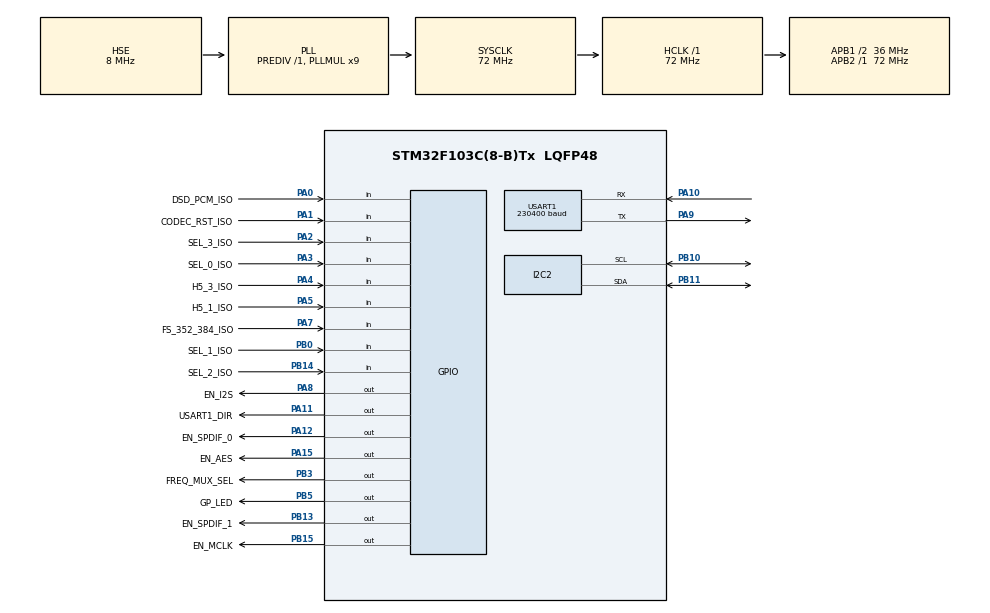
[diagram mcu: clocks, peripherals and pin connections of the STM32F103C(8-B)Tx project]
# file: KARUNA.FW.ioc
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Mcu.Family=STM32F1
Mcu.Name=STM32F103C(8-B)Tx
Mcu.Package=LQFP48
NVIC.PriorityGroup=NVIC_PRIORITYGROUP_4
NVIC.USART1_IRQn=true\:2\:0\:true\:false\:true\:true\:true\:true
PA0-WKUP.GPIO_Label=DSD_PCM_ISO
PA0-WKUP.Signal=GPIO_Input
PA1.GPIO_Label=CODEC_RST_ISO
PA1.Signal=GPIO_Input
PA10.Mode=Asynchronous
PA10.Signal=USART1_RX
PA11.GPIO_Label=USART1_DIR
PA11.Signal=GPIO_Output
PA12.GPIO_Label=EN_SPDIF_0
PA12.Signal=GPIO_Output
PA13.Mode=Serial_Wire
PA13.Signal=SYS_JTMS-SWDIO
PA14.Mode=Serial_Wire
PA14.Signal=SYS_JTCK-SWCLK
PA15.GPIO_Label=EN_AES
PA15.Signal=GPIO_Output
PA2.GPIO_Label=SEL_3_ISO
PA2.Signal=GPIO_Input
PA3.GPIO_Label=SEL_0_ISO
PA3.Signal=GPIO_Input
PA4.GPIO_Label=H5_3_ISO
PA4.Signal=GPIO_Input
PA5.GPIO_Label=H5_1_ISO
PA5.Signal=GPIO_Input
PA7.GPIO_Label=FS_352_384_ISO
PA7.Signal=GPIO_Input
PA8.GPIO_Label=EN_I2S
PA8.Signal=GPIO_Output
PA9.Mode=Asynchronous
PA9.Signal=USART1_TX
PB0.GPIO_Label=SEL_1_ISO
PB0.Signal=GPIO_Input
PB10.Mode=I2C
PB10.Signal=I2C2_SCL
PB11.Mode=I2C
PB11.Signal=I2C2_SDA
PB13.GPIO_Label=EN_SPDIF_1
PB13.Signal=GPIO_Output
PB14.GPIO_Label=SEL_2_ISO
PB14.Signal=GPIO_Input
PB15.GPIO_Label=EN_MCLK
PB15.Signal=GPIO_Output
PB3.GPIO_Label=FREQ_MUX_SEL
PB3.Signal=GPIO_Output
PB5.GPIO_Label=GP_LED
PB5.Signal=GPIO_Output
PD0-OSC_IN.Mode=HSE-External-Oscillator
PD0-OSC_IN.Signal=RCC_OSC_IN
PD1-OSC_OUT.Mode=HSE-External-Oscillator
PD1-OSC_OUT.Signal=RCC_OSC_OUT
ProjectManager.HeapSize=0x200
ProjectManager.StackSize=0x400
ProjectManager.TargetToolchain=STM32CubeIDE
RCC.AHBFreq_Value=72000000
RCC.APB1CLKDivider=RCC_HCLK_DIV2
RCC.APB1Freq_Value=36000000
RCC.APB1TimFreq_Value=72000000
RCC.APB2Freq_Value=72000000
RCC.APB2TimFreq_Value=72000000
RCC.HCLKFreq_Value=72000000
RCC.PLLMUL=RCC_PLL_MUL9
RCC.PLLSourceVirtual=RCC_PLLSOURCE_HSE
RCC.SYSCLKFreq_VALUE=72000000
RCC.SYSCLKSource=RCC_SYSCLKSOURCE_PLLCLK
RCC.USBFreq_Value=72000000
USART1.BaudRate=230400
USART1.VirtualMode=VM_ASYNC
VP_WWDG_VS_WWDG.Mode=WWDG_Activate
WWDG.Counter=127
WWDG.Prescaler=WWDG_PRESCALER_8
WWDG.Window=127
board=custom

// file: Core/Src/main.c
/* USER CODE BEGIN Header */
/**
  ******************************************************************************
  * @file           : main.c
  * @brief          : Main program body
  ******************************************************************************
  * @attention
  *
  * Copyright (c) 2022 STMicroelectronics.
  * All rights reserved.
  *
  * This software is licensed under terms that can be found in the LICENSE file
  * in the root directory of this software component.
  * If no LICENSE file comes with this software, it is provided AS-IS.
  *
  ******************************************************************************
  */
/* USER CODE END Header */
#include "main.h"

/* USER CODE BEGIN Includes */
#include "liveLed.h"
#include "common.h"
#include <string.h>
#include <stdio.h>
#include <stdlib.h>

/* USER CODE END Includes */

/* USER CODE BEGIN PTD */

typedef struct _AppTypeDef
{
  struct _Karuna
  {
    uint32_t DI;
    uint32_t DO;
    uint32_t UpTimeSec;
  }Karuna;

  struct _Diag
  {
    uint8_t  WakeUpFromWdtReset;
    uint32_t RS485ResponseCnt;
    uint32_t RS485RequestCnt;
    uint32_t RS485UnknwonCnt;
    uint32_t RS485NotMyCmdCnt;
    uint32_t UartErrorCnt;
  }Diag;

}DeviceTypeDef;
/* USER CODE END PTD */

/* USER CODE BEGIN PD */

/*** RS485 ***/
#define RS485_BUFFER_SIZE     40
#define RS485_TX_HOLD_MS      1
#define RS485_CMD_LENGTH      35
#define RS485_ARG1_LENGTH     35
#define RS485_ARG2_LENGTH     35

/*** Address ***/
#define CLIENT_TX_ADDR        0x10
#define CLIENT_RX_ADDR        0x01

/*** Karuna ***/
#define KRN_DI_A0             ((uint32_t)1<<0)
#define KRN_DI_A1             ((uint32_t)1<<1)
#define KRN_DI_A2             ((uint32_t)1<<2)
#define KRN_DI_A3             ((uint32_t)1<<3)
#define KRN_DI_DSD_PCM        ((uint32_t)1<<4)
#define KRN_DI_H51            ((uint32_t)1<<5)
#define KRN_DI_H53            ((uint32_t)1<<6)
#define KRN_DI_RCA            ((uint32_t)1<<7)
#define KRN_DI_BNC            ((uint32_t)1<<8)
#define KRN_DI_XLR            ((uint32_t)1<<9)
#define KRN_DI_I2S            ((uint32_t)1<<10)
#define KRN_DI_MCLK_I2S       ((uint32_t)1<<11)
#define KRN_DI_MCLK_OUT       ((uint32_t)1<<12)

#define KRN_DO_RCA_EN         ((uint32_t)1<<0)
#define KRN_DO_BNC_EN         ((uint32_t)1<<1)
#define KRN_DO_XLR_EN         ((uint32_t)1<<2)
#define KRN_DO_I2S_EN         ((uint32_t)1<<3)
#define KRN_DO_MCLK_I2S_EN    ((uint32_t)1<<4)

/* USER CODE END PD */

I2C_HandleTypeDef hi2c2;

UART_HandleTypeDef huart1;

WWDG_HandleTypeDef hwwdg;

/* USER CODE BEGIN PV */
DeviceTypeDef Device;
LiveLED_HnadleTypeDef hLiveLed;

/*** RS485 ***/
char    UartRxBuffer[RS485_BUFFER_SIZE];
char    UartTxBuffer[RS485_BUFFER_SIZE];
char    UartCharacter;
uint8_t UartRxBufferPtr;

/* USER CODE END PV */

void SystemClock_Config(void);
static void MX_GPIO_Init(void);
static void MX_I2C2_Init(void);
static void MX_USART1_UART_Init(void);
static void MX_WWDG_Init(void);
/* USER CODE BEGIN PFP */

/*** LiveLed ***/
void LiveLedOff(void);
void LiveLedOn(void);

/*** UART/RS485 ***/
char* RS485Parser(char *line);
void RS485DirRx(void);
void RS485DirTx(void);
void RS485TxTask(void);

/*** Karuna ***/
uint8_t ReadDI(void);
void WriteDO(uint8_t state);
void KarunaFerq22M5792(void);
void KarunaFreq24M5760(void);
void KarunaClockSelectTask(void);
void KarunaMclkOnI2sDisable(void);
void KarunaMclkOnI2sEnable(void);

/*** Tools ***/
void UpTimeTask(void);

/* USER CODE END PFP */

int main(void)
{

  /* MCU Configuration--------------------------------------------------------*/

  /* Reset of all peripherals, Initializes the Flash interface and the Systick. */
  HAL_Init();

  /* USER CODE BEGIN Init */
  /*** LiveLed ***/
  hLiveLed.LedOffFnPtr = &LiveLedOff;
  hLiveLed.LedOnFnPtr = &LiveLedOn;
  hLiveLed.HalfPeriodTimeMs = 500;
  LiveLedInit(&hLiveLed);
  /*** RS485 ***/
  RS485DirRx();
  /*** Karuna ***/
  Device.Karuna.DO = KRN_DO_RCA_EN | KRN_DO_BNC_EN | KRN_DO_XLR_EN | KRN_DO_I2S_EN;
  /* USER CODE END Init */

  /* Configure the system clock */
  SystemClock_Config();

  /* Initialize all configured peripherals */
  MX_GPIO_Init();
  MX_I2C2_Init();
  MX_USART1_UART_Init();
  MX_WWDG_Init();
  /* USER CODE BEGIN 2 */

  /*** Check if the system has resumed from WWDG reset ***/
  if (__HAL_RCC_GET_FLAG(RCC_FLAG_WWDGRST) != RESET)
  {
    Device.Diag.WakeUpFromWdtReset = 1;
  }

  /* USER CODE END 2 */

  /* Infinite loop */
  /* USER CODE BEGIN WHILE */
  static uint32_t timestamp;

  while (1)
  {
    HAL_WWDG_Refresh(&hwwdg);
    if(HAL_GetTick() - timestamp > 100)
    {
      timestamp = HAL_GetTick();
      Device.Karuna.DI = ReadDI();
      WriteDO(Device.Karuna.DO);
      KarunaClockSelectTask();

      if(Device.Karuna.DO & KRN_DO_RCA_EN)
        Device.Karuna.DI |= KRN_DI_RCA;
      else
        Device.Karuna.DI &= ~KRN_DI_RCA;

      if(Device.Karuna.DO & KRN_DO_BNC_EN)
        Device.Karuna.DI |= KRN_DI_BNC;
      else
        Device.Karuna.DI &= ~KRN_DI_BNC;

      if(Device.Karuna.DO & KRN_DO_XLR_EN)
        Device.Karuna.DI |= KRN_DI_XLR;
      else
        Device.Karuna.DI &= ~KRN_DI_XLR;

      if(Device.Karuna.DO & KRN_DO_I2S_EN)
      {
        Device.Karuna.DI |= KRN_DI_I2S;
        Device.Karuna.DI |= KRN_DI_MCLK_OUT;
      }
      else
      {
        Device.Karuna.DI &= ~KRN_DI_I2S;
        Device.Karuna.DI &= ~KRN_DI_MCLK_OUT;
      }

      if(Device.Karuna.DO & KRN_DO_MCLK_I2S_EN)
      {
        Device.Karuna.DI |= KRN_DI_MCLK_I2S;
      }
      else
      {
        Device.Karuna.DI &= ~KRN_DI_MCLK_I2S;
      }
    }
    LiveLedTask(&hLiveLed);
    RS485TxTask();
    UpTimeTask();
    /* USER CODE END WHILE */

  }
}

void SystemClock_Config(void)
{
  RCC_OscInitTypeDef RCC_OscInitStruct = {0};
  RCC_ClkInitTypeDef RCC_ClkInitStruct = {0};

  /** Initializes the RCC Oscillators according to the specified parameters
  * in the RCC_OscInitTypeDef structure.
  */
  RCC_OscInitStruct.OscillatorType = RCC_OSCILLATORTYPE_HSE;
  RCC_OscInitStruct.HSEState = RCC_HSE_ON;
  RCC_OscInitStruct.HSEPredivValue = RCC_HSE_PREDIV_DIV1;
  RCC_OscInitStruct.HSIState = RCC_HSI_ON;
  RCC_OscInitStruct.PLL.PLLState = RCC_PLL_ON;
  RCC_OscInitStruct.PLL.PLLSource = RCC_PLLSOURCE_HSE;
  RCC_OscInitStruct.PLL.PLLMUL = RCC_PLL_MUL9;
  if (HAL_RCC_OscConfig(&RCC_OscInitStruct) != HAL_OK)
  {
    Error_Handler();
  }

  /** Initializes the CPU, AHB and APB buses clocks
  */
  RCC_ClkInitStruct.ClockType = RCC_CLOCKTYPE_HCLK|RCC_CLOCKTYPE_SYSCLK
                              |RCC_CLOCKTYPE_PCLK1|RCC_CLOCKTYPE_PCLK2;
  RCC_ClkInitStruct.SYSCLKSource = RCC_SYSCLKSOURCE_PLLCLK;
  RCC_ClkInitStruct.AHBCLKDivider = RCC_SYSCLK_DIV1;
  RCC_ClkInitStruct.APB1CLKDivider = RCC_HCLK_DIV2;
  RCC_ClkInitStruct.APB2CLKDivider = RCC_HCLK_DIV1;

  if (HAL_RCC_ClockConfig(&RCC_ClkInitStruct, FLASH_LATENCY_2) != HAL_OK)
  {
    Error_Handler();
  }
}

static void MX_I2C2_Init(void)
{

  hi2c2.Instance = I2C2;
  hi2c2.Init.ClockSpeed = 100000;
  hi2c2.Init.DutyCycle = I2C_DUTYCYCLE_2;
  hi2c2.Init.OwnAddress1 = 0;
  hi2c2.Init.AddressingMode = I2C_ADDRESSINGMODE_7BIT;
  hi2c2.Init.DualAddressMode = I2C_DUALADDRESS_DISABLE;
  hi2c2.Init.OwnAddress2 = 0;
  hi2c2.Init.GeneralCallMode = I2C_GENERALCALL_DISABLE;
  hi2c2.Init.NoStretchMode = I2C_NOSTRETCH_DISABLE;
  if (HAL_I2C_Init(&hi2c2) != HAL_OK)
  {
    Error_Handler();
  }

}

static void MX_USART1_UART_Init(void)
{

  huart1.Instance = USART1;
  huart1.Init.BaudRate = 230400;
  huart1.Init.WordLength = UART_WORDLENGTH_8B;
  huart1.Init.StopBits = UART_STOPBITS_1;
  huart1.Init.Parity = UART_PARITY_NONE;
  huart1.Init.Mode = UART_MODE_TX_RX;
  huart1.Init.HwFlowCtl = UART_HWCONTROL_NONE;
  huart1.Init.OverSampling = UART_OVERSAMPLING_16;
  if (HAL_UART_Init(&huart1) != HAL_OK)
  {
    Error_Handler();
  }
  /* USER CODE BEGIN USART1_Init 2 */
  if(HAL_UART_Receive_IT(&huart1, (uint8_t *)&UartCharacter, 1) != HAL_OK)
    Device.Diag.UartErrorCnt++;
  /* USER CODE END USART1_Init 2 */

}

static void MX_WWDG_Init(void)
{

  hwwdg.Instance = WWDG;
  hwwdg.Init.Prescaler = WWDG_PRESCALER_8;
  hwwdg.Init.Window = 127;
  hwwdg.Init.Counter = 127;
  hwwdg.Init.EWIMode = WWDG_EWI_DISABLE;
  if (HAL_WWDG_Init(&hwwdg) != HAL_OK)
  {
    Error_Handler();
  }

}

static void MX_GPIO_Init(void)
{
  GPIO_InitTypeDef GPIO_InitStruct = {0};

  /* GPIO Ports Clock Enable */
  __HAL_RCC_GPIOD_CLK_ENABLE();
  __HAL_RCC_GPIOA_CLK_ENABLE();
  __HAL_RCC_GPIOB_CLK_ENABLE();

  /*Configure GPIO pin Output Level */
  HAL_GPIO_WritePin(GPIOB, EN_SPDIF_1_Pin|EN_MCLK_Pin|FREQ_MUX_SEL_Pin|GP_LED_Pin, GPIO_PIN_RESET);

  /*Configure GPIO pin Output Level */
  HAL_GPIO_WritePin(GPIOA, EN_I2S_Pin|USART1_DIR_Pin|EN_SPDIF_0_Pin|EN_AES_Pin, GPIO_PIN_RESET);

  /*Configure GPIO pins : DSD_PCM_ISO_Pin CODEC_RST_ISO_Pin SEL_3_ISO_Pin SEL_0_ISO_Pin
                           H5_3_ISO_Pin H5_1_ISO_Pin FS_352_384_ISO_Pin */
  GPIO_InitStruct.Pin = DSD_PCM_ISO_Pin|CODEC_RST_ISO_Pin|SEL_3_ISO_Pin|SEL_0_ISO_Pin
                          |H5_3_ISO_Pin|H5_1_ISO_Pin|FS_352_384_ISO_Pin;
  GPIO_InitStruct.Mode = GPIO_MODE_INPUT;
  GPIO_InitStruct.Pull = GPIO_NOPULL;
  HAL_GPIO_Init(GPIOA, &GPIO_InitStruct);

  /*Configure GPIO pins : SEL_1_ISO_Pin SEL_2_ISO_Pin */
  GPIO_InitStruct.Pin = SEL_1_ISO_Pin|SEL_2_ISO_Pin;
  GPIO_InitStruct.Mode = GPIO_MODE_INPUT;
  GPIO_InitStruct.Pull = GPIO_NOPULL;
  HAL_GPIO_Init(GPIOB, &GPIO_InitStruct);

  /*Configure GPIO pins : EN_SPDIF_1_Pin EN_MCLK_Pin FREQ_MUX_SEL_Pin GP_LED_Pin */
  GPIO_InitStruct.Pin = EN_SPDIF_1_Pin|EN_MCLK_Pin|FREQ_MUX_SEL_Pin|GP_LED_Pin;
  GPIO_InitStruct.Mode = GPIO_MODE_OUTPUT_PP;
  GPIO_InitStruct.Pull = GPIO_NOPULL;
  GPIO_InitStruct.Speed = GPIO_SPEED_FREQ_LOW;
  HAL_GPIO_Init(GPIOB, &GPIO_InitStruct);

  /*Configure GPIO pins : EN_I2S_Pin USART1_DIR_Pin EN_SPDIF_0_Pin EN_AES_Pin */
  GPIO_InitStruct.Pin = EN_I2S_Pin|USART1_DIR_Pin|EN_SPDIF_0_Pin|EN_AES_Pin;
  GPIO_InitStruct.Mode = GPIO_MODE_OUTPUT_PP;
  GPIO_InitStruct.Pull = GPIO_NOPULL;
  GPIO_InitStruct.Speed = GPIO_SPEED_FREQ_LOW;
  HAL_GPIO_Init(GPIOA, &GPIO_InitStruct);

}

/* USER CODE BEGIN 4 */
/* LEDs -----------------------------------------------------------------------*/
void LiveLedOn(void)
{
  HAL_GPIO_WritePin(GP_LED_GPIO_Port, GP_LED_Pin, GPIO_PIN_SET);
}

void LiveLedOff(void)
{
  HAL_GPIO_WritePin(GP_LED_GPIO_Port, GP_LED_Pin, GPIO_PIN_RESET);
}

/* UART-RS485-----------------------------------------------------------------*/
void HAL_UART_RxCpltCallback(UART_HandleTypeDef *context)
{
  if(HAL_UART_Receive_IT(context, (uint8_t *)&UartCharacter, 1) != HAL_OK)
    Device.Diag.UartErrorCnt++;
  else
  {
    if(UartRxBufferPtr < RS485_BUFFER_SIZE - 1)
    {
      if(UartCharacter == '\n')
      {
        UartRxBuffer[UartRxBufferPtr] = '\0';
        strcpy(UartTxBuffer, RS485Parser(UartRxBuffer));
        UartRxBufferPtr = 0;
      }
      else
        UartRxBuffer[UartRxBufferPtr++] = UartCharacter;
    }
    else
    {
      UartRxBufferPtr = 0;
      memset(UartRxBuffer,0x00, RS485_BUFFER_SIZE);
    }
  }
}

void HAL_UART_ErrorCallback(UART_HandleTypeDef *huart)
{
    Device.Diag.UartErrorCnt++;
    __HAL_UART_CLEAR_PEFLAG(huart);
    __HAL_UART_CLEAR_FEFLAG(huart);
    __HAL_UART_CLEAR_NEFLAG(huart);
    __HAL_UART_CLEAR_OREFLAG(huart);

  if(HAL_UART_Receive_IT(huart, (uint8_t *)&UartCharacter, 1) != HAL_OK)
    Device.Diag.UartErrorCnt++;
}

char* RS485Parser(char *line)
{
  unsigned int addr = 0;
  char buffer[RS485_BUFFER_SIZE];
  char cmd[RS485_CMD_LENGTH];
  char arg1[RS485_ARG1_LENGTH];
  char arg2[RS485_ARG2_LENGTH];

  memset(buffer, 0x00, RS485_BUFFER_SIZE);
  memset(cmd,0x00, RS485_CMD_LENGTH);
  memset(arg1,0x00, RS485_ARG1_LENGTH);
  memset(arg2,0x00, RS485_ARG2_LENGTH);

  sscanf(line, "#%x %s",&addr, cmd);
  if(addr != CLIENT_RX_ADDR)
  {
    Device.Diag.RS485NotMyCmdCnt++;
    return NULL;
  }
  Device.Diag.RS485RequestCnt++;

  if(!strcmp(cmd, "*OPC?"))
  {
    strcpy(buffer, "OK");
  }
  else if(!strcmp(cmd, "FW?"))
  {
    sprintf(buffer, "FW %s", DEVICE_FW);
  }
  else if(!strcmp(cmd, "UID?"))
  {
    sprintf(buffer, "UID %4lX%4lX%4lX",HAL_GetUIDw0(), HAL_GetUIDw1(), HAL_GetUIDw2());
  }
  else if(!strcmp(cmd, "PCB?"))
  {
    sprintf(buffer, "PCB %s", DEVICE_PCB);
  }
  else if(!strcmp(cmd,"UPTIME?"))
  {
     sprintf(buffer, "UPTIME %08lX", Device.Karuna.UpTimeSec);
  }
  else if(!strcmp(cmd,"DI?"))
  {
     sprintf(buffer, "DI %08lX", Device.Karuna.DI);
  }
  else if(!strcmp(cmd,"DO?"))
  {
     sprintf(buffer, "DO %08lX", Device.Karuna.DO);
  }
  else if(!strcmp(cmd,"UE?"))
  {
    sprintf(buffer, "UE %08lX", Device.Diag.UartErrorCnt);
  }
  else if(!strcmp(cmd,"DO"))
  {
    sscanf(line, "#%x %s %s",&addr, cmd, arg1);
    Device.Karuna.DO = strtol(arg1, NULL, 16);
    strcpy(buffer, "OK");
  }
  else
  {
    Device.Diag.RS485UnknwonCnt++;
  }
  static char resp[RS485_BUFFER_SIZE + 5];
  memset(resp, 0x00, RS485_BUFFER_SIZE);
  sprintf(resp, "#%02X %s", CLIENT_TX_ADDR, buffer);
  strcat(resp,"\n");
  return resp;
}

void RS485TxTask(void)
{
  uint8_t txn=strlen(UartTxBuffer);
  if( txn != 0)
  {
    Device.Diag.RS485ResponseCnt++;
    RS485DirTx();
    DelayMs(RS485_TX_HOLD_MS);
    HAL_UART_Transmit(&huart1, (uint8_t*) UartTxBuffer, txn, 100);
    UartTxBuffer[0] = 0;
    RS485DirRx();
  }
}

void RS485DirTx(void)
{
  HAL_GPIO_WritePin(USART1_DIR_GPIO_Port, USART1_DIR_Pin, GPIO_PIN_SET);
}

void RS485DirRx(void)
{
  HAL_GPIO_WritePin(USART1_DIR_GPIO_Port, USART1_DIR_Pin, GPIO_PIN_RESET);
}

/* Karuna---------------------------------------------------------------------*/
uint8_t ReadDI(void)
{
  uint8_t state = 0;

  if(HAL_GPIO_ReadPin(SEL_0_ISO_GPIO_Port, SEL_0_ISO_Pin) == GPIO_PIN_RESET)
    state |= KRN_DI_A0;

  if(HAL_GPIO_ReadPin(SEL_1_ISO_GPIO_Port, SEL_1_ISO_Pin) == GPIO_PIN_RESET)
    state |= KRN_DI_A1;

  if(HAL_GPIO_ReadPin(SEL_2_ISO_GPIO_Port, SEL_2_ISO_Pin) == GPIO_PIN_RESET)
    state |= KRN_DI_A2;

  if(HAL_GPIO_ReadPin(SEL_3_ISO_GPIO_Port, SEL_3_ISO_Pin) == GPIO_PIN_RESET)
    state |= KRN_DI_A3;

  if(HAL_GPIO_ReadPin(DSD_PCM_ISO_GPIO_Port, DSD_PCM_ISO_Pin) == GPIO_PIN_RESET)
    state |= KRN_DI_DSD_PCM;

  if(HAL_GPIO_ReadPin(DSD_PCM_ISO_GPIO_Port, DSD_PCM_ISO_Pin) == GPIO_PIN_RESET)
    state |= KRN_DI_DSD_PCM;

  if(HAL_GPIO_ReadPin(H5_3_ISO_GPIO_Port, H5_3_ISO_Pin) == GPIO_PIN_RESET)
    state |= KRN_DI_H53;

  if(HAL_GPIO_ReadPin(H5_1_ISO_GPIO_Port, H5_1_ISO_Pin) == GPIO_PIN_RESET)
    state |= KRN_DI_H51;

  return state;
}

void WriteDO(uint8_t state)
{
  if(state & KRN_DO_RCA_EN)
    HAL_GPIO_WritePin(EN_SPDIF_0_GPIO_Port, EN_SPDIF_0_Pin, GPIO_PIN_SET);
  else
    HAL_GPIO_WritePin(EN_SPDIF_0_GPIO_Port, EN_SPDIF_0_Pin, GPIO_PIN_RESET);

  if(state & KRN_DO_BNC_EN)
    HAL_GPIO_WritePin(EN_SPDIF_1_GPIO_Port, EN_SPDIF_1_Pin, GPIO_PIN_SET);
  else
    HAL_GPIO_WritePin(EN_SPDIF_1_GPIO_Port, EN_SPDIF_1_Pin, GPIO_PIN_RESET);

  if(state & KRN_DO_XLR_EN)
    HAL_GPIO_WritePin(EN_AES_GPIO_Port, EN_AES_Pin, GPIO_PIN_SET);
  else
    HAL_GPIO_WritePin(EN_AES_GPIO_Port, EN_AES_Pin, GPIO_PIN_RESET);

  if(state & KRN_DO_I2S_EN)
    HAL_GPIO_WritePin(EN_I2S_GPIO_Port, EN_I2S_Pin, GPIO_PIN_SET);
  else
    HAL_GPIO_WritePin(EN_I2S_GPIO_Port, EN_I2S_Pin, GPIO_PIN_RESET);

  if(state & KRN_DO_MCLK_I2S_EN)
    HAL_GPIO_WritePin(EN_MCLK_GPIO_Port, EN_MCLK_Pin, GPIO_PIN_RESET);
  else
    HAL_GPIO_WritePin(EN_MCLK_GPIO_Port, EN_MCLK_Pin, GPIO_PIN_SET);
};

void KarunaFerq22M5792(void)
{
  HAL_GPIO_WritePin(FREQ_MUX_SEL_GPIO_Port, FREQ_MUX_SEL_Pin, GPIO_PIN_SET);
}

void KarunaFreq24M5760(void)
{
  HAL_GPIO_WritePin(FREQ_MUX_SEL_GPIO_Port, FREQ_MUX_SEL_Pin, GPIO_PIN_RESET);
}

void KarunaClockSelectTask(void)
{
  uint8_t a0 = (Device.Karuna.DI & KRN_DI_A0) == KRN_DI_A0;
  uint8_t dsd = (Device.Karuna.DI & KRN_DI_DSD_PCM) == KRN_DI_DSD_PCM;
  if(!a0 && !dsd)
    KarunaFerq22M5792();
  if(!a0 && dsd)
    KarunaFerq22M5792();
  if(a0 && !dsd)
    KarunaFreq24M5760();
  if(a0 && dsd)
    KarunaFerq22M5792();
}
/* Tools----------------------------------------------------------------------*/
void UpTimeTask(void)
{
  static uint32_t timestamp;
  if(HAL_GetTick() - timestamp > 1000)
  {
    timestamp = HAL_GetTick();
    Device.Karuna.UpTimeSec++;
  }
}
/* USER CODE END 4 */

void Error_Handler(void)
{
  __disable_irq();
  while (1)
  {
  }
}
